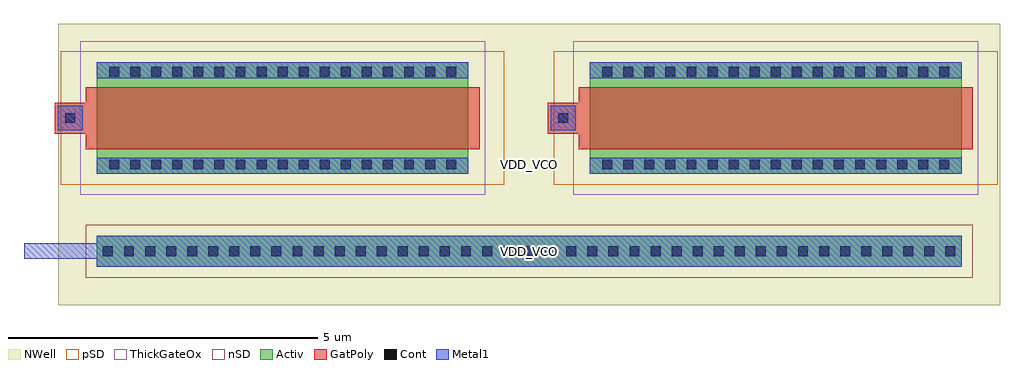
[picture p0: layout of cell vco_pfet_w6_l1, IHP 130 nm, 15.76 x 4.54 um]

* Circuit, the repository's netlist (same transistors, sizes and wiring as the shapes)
* extracted by klt extract --deck sg13cmos5l

* cell vco_pfet_w6_l1
* pin VDD_VCO
.SUBCKT vco_pfet_w6_l1 VDD_VCO
* device instance $1 r0 *1 4.3,3.36 pfet
X$1 \$6 \$2 \$3 VDD_VCO sg13_hv_pmos L=1U W=6U AS=2.4P AD=2.4P PS=12.8U PD=12.8U
* device instance $2 r0 *1 12.26,3.36 pfet
X$2 \$7 \$4 \$5 VDD_VCO sg13_hv_pmos L=1U W=6U AS=2.4P AD=2.4P PS=12.8U PD=12.8U
.ENDS vco_pfet_w6_l1

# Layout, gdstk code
import gdstk
lib = gdstk.Library(unit=1e-6, precision=1e-09)
def R(c, l, rs):  # rectangles x0, y0, x1, y1
    for r in rs: c.add(gdstk.rectangle(r[:2], r[2:], *l))
def A(c, l, x, y, w, h, nx, ny, dx, dy):  # array of equal rectangles
    R(c, l, [(x+i*dx, y+j*dy, x+i*dx+w, y+j*dy+h) for i in range(nx) for j in range(ny)])
Activ = (1, 0)
GatPoly = (5, 0)
Cont = (6, 0)
nSD = (7, 0)
Metal1 = (8, 0)
pSD = (14, 0)
NWell = (31, 0)
ThickGateOx = (44, 0)

vco_pfet_w6_l1 = lib.new_cell('vco_pfet_w6_l1')
R(vco_pfet_w6_l1, Activ, [(1.3,0.96,15.26,1.46), (1.3,2.46,7.3,4.26), (9.26,2.46,15.26,4.26)])
R(vco_pfet_w6_l1, GatPoly, [(1.12,2.86,7.48,3.86), (9.08,2.86,15.44,3.86), (0.62,3.11,1.12,3.61), (8.58,3.11,9.08,3.61)])
A(vco_pfet_w6_l1, Cont, 1.4, 1.13, 0.16, 0.16, 41, 1, 0.34, 0)
A(vco_pfet_w6_l1, Cont, 1.5, 2.53, 0.16, 0.16, 17, 2, 0.34, 1.5)
A(vco_pfet_w6_l1, Cont, 9.46, 2.53, 0.16, 0.16, 17, 2, 0.34, 1.5)
R(vco_pfet_w6_l1, Cont, [(0.79,3.28,0.95,3.44), (8.75,3.28,8.91,3.44)])
R(vco_pfet_w6_l1, nSD, [(1.12,0.78,15.44,1.64)])
R(vco_pfet_w6_l1, Metal1, [(1.3,0.96,15.26,1.46), (0.125,1.085,1.3,1.335), (1.3,2.46,7.3,2.72), (9.26,2.46,15.26,2.72), (0.67,3.16,1.07,3.56), (8.63,3.16,9.03,3.56), (1.3,4,7.3,4.26), (9.26,4,15.26,4.26)])
R(vco_pfet_w6_l1, pSD, [(0.72,2.28,7.88,4.44), (8.68,2.28,15.84,4.44)])
R(vco_pfet_w6_l1, NWell, [(0.68,0.34,15.88,4.88)])
R(vco_pfet_w6_l1, ThickGateOx, [(1.03,2.12,7.57,4.6), (8.99,2.12,15.53,4.6)])
vco_pfet_w6_l1.add(gdstk.Label('VDD_VCO', (8.28,1.21), layer=8, texttype=2))
vco_pfet_w6_l1.add(gdstk.Label('VDD_VCO', (8.28,2.61), layer=31, texttype=2))

lib.write_gds('vco_pfet_w6_l1.gds')
